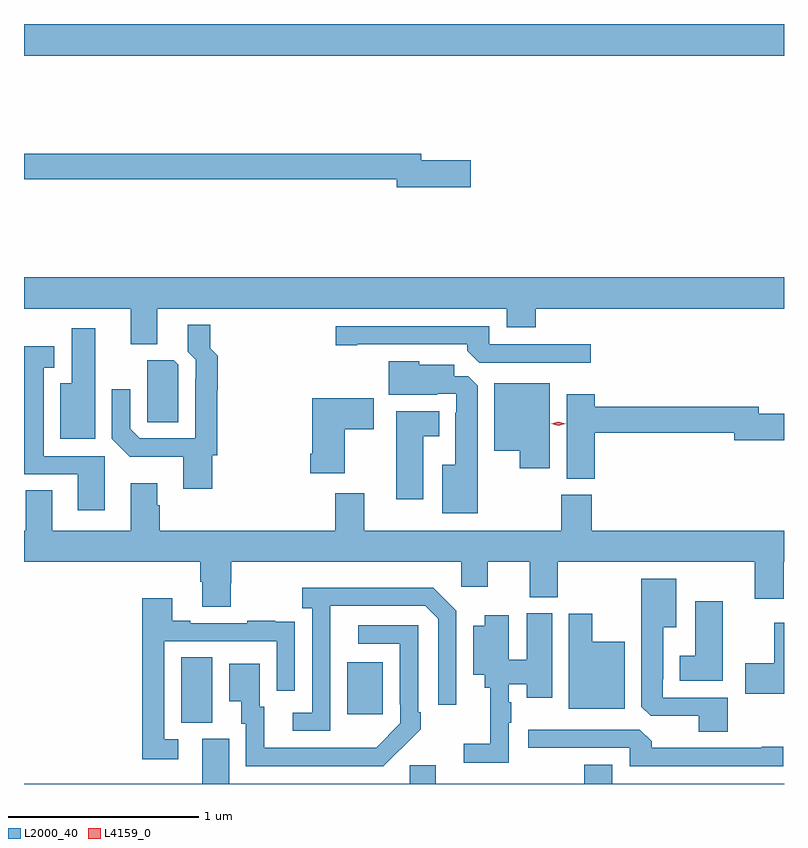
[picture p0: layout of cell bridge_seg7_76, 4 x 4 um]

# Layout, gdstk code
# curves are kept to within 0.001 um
import gdstk
lib = gdstk.Library(unit=1e-6, precision=1e-09)
def R(c, l, rs):  # rectangles x0, y0, x1, y1
    for r in rs: c.add(gdstk.rectangle(r[:2], r[2:], *l))
def P(c, l, *ps):  # polygons
    for p in ps: c.add(gdstk.Polygon(p, *l))
L2000_40 = (2000, 40)
L4159_0 = (4159, 0)

bridge_seg7_76 = lib.new_cell('bridge_seg7_76')
R(bridge_seg7_76, L2000_40, [(1065.308,1033.069,1065.472,1033.412), (1066.181,1033.113,1066.369,1033.387)])
P(bridge_seg7_76, L2000_40, [(1068.48,1036.744),(1068.42,1036.744),(1068.42,1036.746),(1068.265,1036.746),(1068.265,1036.744),(1067.82,1036.744),(1067.82,1036.746),(1067.665,1036.746),(1067.665,1036.744),(1067.22,1036.744),(1067.22,1036.746),(1067.065,1036.746),(1067.065,1036.744),(1066.62,1036.744),(1066.62,1036.746),(1066.46,1036.746),(1066.46,1036.744),(1064.48,1036.744),(1064.48,1036.58),(1068.48,1036.58)],
  [(1066.831,1036.028),(1066.57,1036.028),(1066.57,1036.064),(1064.48,1036.064),(1064.48,1035.928),(1066.442,1035.928),(1066.442,1035.886),(1066.831,1035.886)],
  [(1065.181,1035.248),(1067.021,1035.248),(1067.021,1035.149),(1067.174,1035.149),(1067.174,1035.248),(1068.48,1035.248),(1068.48,1035.412),(1064.48,1035.412),(1064.48,1035.248),(1065.041,1035.248),(1065.041,1035.061),(1065.181,1035.061)],
  [(1065.47,1034.475),(1065.497,1034.475),(1065.497,1034.818),(1065.5,1034.818),(1065.5,1035),(1065.461,1035.039),(1065.461,1035.163),(1065.341,1035.163),(1065.341,1035.022),(1065.384,1034.979),(1065.384,1034.879),(1065.381,1034.879),(1065.381,1034.565),(1065.09,1034.565),(1065.039,1034.616),(1065.039,1034.824),(1064.943,1034.824),(1064.943,1034.562),(1065.037,1034.468),(1065.317,1034.468),(1065.317,1034.301),(1065.47,1034.301)],
  [(1067.464,1035.06),(1066.929,1035.06),(1066.929,1035.156),(1066.122,1035.156),(1066.122,1035.055),(1066.234,1035.055),(1066.234,1035.06),(1066.814,1035.06),(1066.814,1035.026),(1066.875,1034.964),(1067.464,1034.964)],
  [(1064.854,1035.145),(1064.732,1035.145),(1064.732,1034.854),(1064.672,1034.854),(1064.672,1034.564),(1064.854,1034.564)],
  [(1064.905,1034.472),(1064.584,1034.472),(1064.584,1034.936),(1064.638,1034.936),(1064.638,1035.049),(1064.48,1035.049),(1064.48,1034.376),(1064.762,1034.376),(1064.762,1034.187),(1064.905,1034.187)],
  [(1065.291,1034.952),(1065.267,1034.976),(1065.128,1034.976),(1065.128,1034.761),(1065.129,1034.761),(1065.129,1034.65),(1065.291,1034.65)],
  [(1066.867,1034.843),(1066.818,1034.892),(1066.744,1034.892),(1066.744,1034.953),(1066.56,1034.953),(1066.56,1034.971),(1066.4,1034.971),(1066.4,1034.795),(1066.655,1034.795),(1066.655,1034.799),(1066.755,1034.799),(1066.755,1034.699),(1066.751,1034.699),(1066.751,1034.425),(1066.682,1034.425),(1066.682,1034.171),(1066.867,1034.171)],
  [(1067.248,1034.854),(1066.955,1034.854),(1066.955,1034.501),(1067.09,1034.501),(1067.09,1034.409),(1067.248,1034.409)],
  [(1067.483,1034.596),(1068.218,1034.596),(1068.218,1034.554),(1068.48,1034.554),(1068.48,1034.696),(1068.346,1034.696),(1068.346,1034.732),(1067.483,1034.732),(1067.483,1034.797),(1067.336,1034.797),(1067.336,1034.353),(1067.483,1034.353)],
  [(1066.168,1034.614),(1066.321,1034.614),(1066.321,1034.776),(1065.998,1034.776),(1065.998,1034.485),(1065.986,1034.485),(1065.986,1034.381),(1066.168,1034.381)],
  [(1066.582,1034.576),(1066.666,1034.576),(1066.666,1034.707),(1066.439,1034.707),(1066.439,1034.244),(1066.582,1034.244)],
  [(1065.567,1033.803),(1065.572,1033.803),(1065.572,1033.916),(1066.782,1033.916),(1066.782,1033.785),(1066.921,1033.785),(1066.921,1033.916),(1067.141,1033.916),(1067.141,1033.728),(1067.289,1033.728),(1067.289,1033.916),(1068.326,1033.916),(1068.326,1033.722),(1068.479,1033.722),(1068.479,1033.916),(1068.48,1033.916),(1068.48,1034.08),(1067.468,1034.08),(1067.468,1034.268),(1067.308,1034.268),(1067.308,1034.08),(1066.27,1034.08),(1066.27,1034.275),(1066.118,1034.275),(1066.118,1034.08),(1065.194,1034.08),(1065.194,1034.213),(1065.181,1034.213),(1065.181,1034.329),(1065.041,1034.329),(1065.041,1034.08),(1064.629,1034.08),(1064.629,1034.291),(1064.489,1034.291),(1064.489,1034.08),(1064.48,1034.08),(1064.48,1033.916),(1065.407,1033.916),(1065.407,1033.81),(1065.419,1033.81),(1065.419,1033.678),(1065.567,1033.678)],
  [(1068.185,1033.2),(1067.841,1033.2),(1067.841,1033.297),(1067.845,1033.297),(1067.845,1033.571),(1067.914,1033.571),(1067.914,1033.825),(1067.729,1033.825),(1067.729,1033.153),(1067.778,1033.104),(1068.032,1033.104),(1068.032,1033.021),(1068.185,1033.021)],
  [(1066.092,1033.483),(1066.093,1033.683),(1066.593,1033.683),(1066.659,1033.617),(1066.659,1033.164),(1066.755,1033.164),(1066.755,1033.659),(1066.634,1033.78),(1065.945,1033.78),(1065.945,1033.67),(1065.996,1033.67),(1065.996,1033.122),(1065.894,1033.122),(1065.894,1033.026),(1066.092,1033.026)],
  [(1065.292,1032.981),(1065.219,1032.981),(1065.219,1033.497),(1065.81,1033.497),(1065.81,1033.236),(1065.906,1033.236),(1065.906,1033.49),(1065.905,1033.49),(1065.905,1033.599),(1065.803,1033.599),(1065.803,1033.606),(1065.655,1033.606),(1065.655,1033.593),(1065.355,1033.593),(1065.355,1033.606),(1065.259,1033.606),(1065.259,1033.723),(1065.103,1033.723),(1065.103,1032.876),(1065.292,1032.876)],
  [(1068.157,1033.708),(1068.014,1033.708),(1068.014,1033.42),(1067.93,1033.42),(1067.93,1033.289),(1068.157,1033.289)],
  [(1067.031,1033.068),(1067.044,1033.068),(1067.044,1033.175),(1067.031,1033.175),(1067.031,1033.271),(1067.126,1033.271),(1067.126,1033.2),(1067.26,1033.2),(1067.26,1033.644),(1067.126,1033.644),(1067.126,1033.401),(1067.032,1033.401),(1067.032,1033.633),(1066.904,1033.633),(1066.904,1033.579),(1066.844,1033.579),(1066.844,1033.322),(1066.904,1033.322),(1066.904,1033.253),(1066.934,1033.253),(1066.934,1032.959),(1066.794,1032.959),(1066.794,1032.858),(1067.031,1032.858)],
  [(1067.641,1033.495),(1067.47,1033.495),(1067.47,1033.642),(1067.348,1033.642),(1067.348,1033.142),(1067.641,1033.142)],
  [(1068.48,1033.594),(1068.428,1033.594),(1068.428,1033.382),(1068.276,1033.382),(1068.276,1033.22),(1068.48,1033.22)],
  [(1066.463,1032.931),(1066.464,1032.93),(1066.569,1033.035),(1066.569,1033.123),(1066.554,1033.123),(1066.554,1033.581),(1066.239,1033.581),(1066.239,1033.485),(1066.458,1033.485),(1066.458,1033.165),(1066.461,1033.165),(1066.461,1033.065),(1066.333,1032.937),(1065.745,1032.936),(1065.745,1033.152),(1065.721,1033.152),(1065.721,1033.378),(1065.56,1033.378),(1065.56,1033.181),(1065.623,1033.181),(1065.623,1033.062),(1065.648,1033.062),(1065.648,1032.84),(1066.372,1032.84)],
  [(1068.475,1032.941),(1068.362,1032.941),(1068.362,1032.936),(1067.783,1032.936),(1067.783,1032.97),(1067.721,1033.032),(1067.133,1033.032),(1067.133,1032.936),(1067.667,1032.936),(1067.667,1032.84),(1068.475,1032.84)],
  [(1068.48,1032.748),(1067.575,1032.748),(1067.575,1032.847),(1067.428,1032.847),(1067.428,1032.748),(1066.648,1032.748),(1066.648,1032.846),(1066.509,1032.846),(1066.509,1032.748),(1065.559,1032.748),(1065.559,1032.984),(1065.419,1032.984),(1065.419,1032.748),(1064.48,1032.748),(1064.48,1032.746),(1068.48,1032.746)])
P(bridge_seg7_76, L4159_0, [(1067.293,1034.632),(1067.256,1034.642),(1067.255,1034.642),(1067.256,1034.643),(1067.293,1034.652),(1067.331,1034.642),(1067.331,1034.642),(1067.331,1034.642)])

lib.write_gds('bridge_seg7_76.gds')
